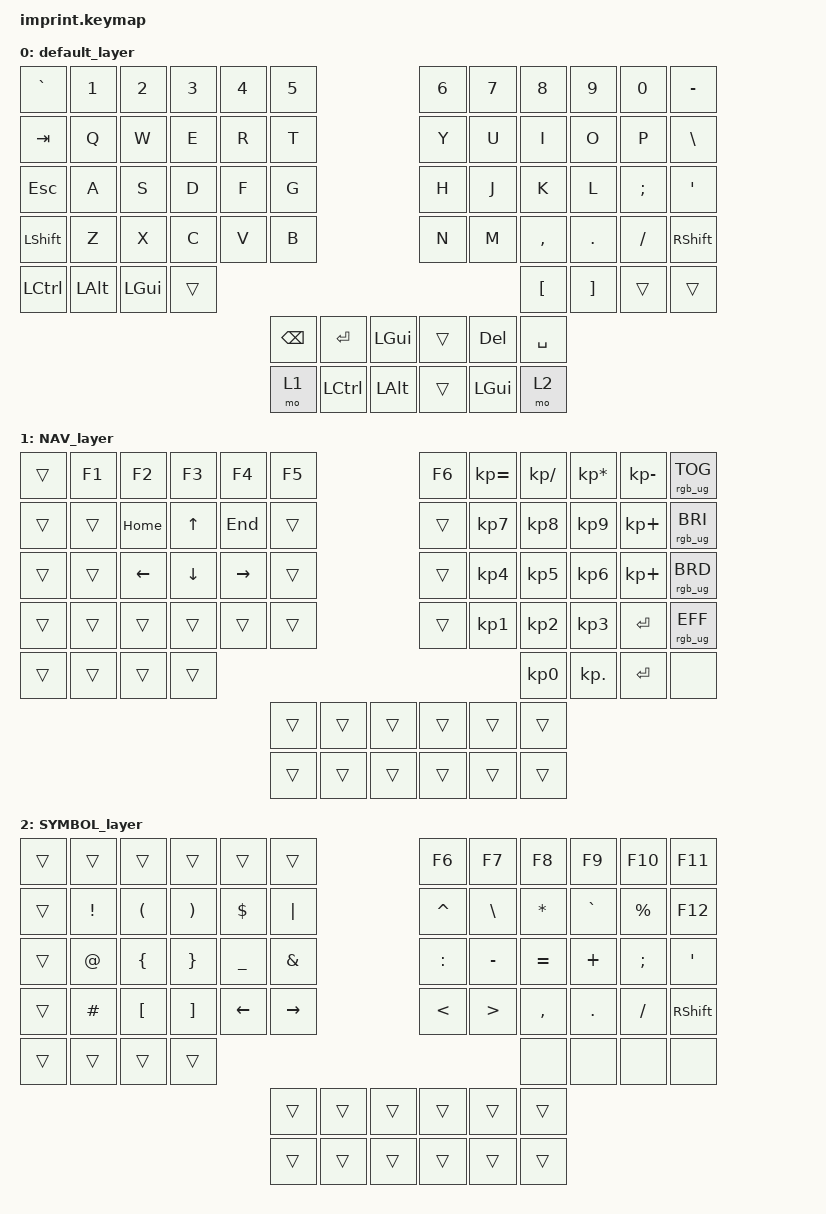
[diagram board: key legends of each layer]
#include <behaviors.dtsi>
#include <dt-bindings/zmk/bt.h>
#include <dt-bindings/zmk/keys.h>
#include <dt-bindings/zmk/outputs.h>
#include <dt-bindings/zmk/rgb.h>
#include <dt-bindings/zmk/ext_power.h>


#define UC(h, s, b) &rgb_ug RGB_COLOR_HSB(h,s,b)
#define HSB_DEFAULT UC(180,45,100)
#define HSB_DEFAULT_THUMB UC(0,60,70)

#define HSB_NAV UC(30,60,100)

// Real location is a bit off for thumbcluster.
// thumbcluster L       thumbcluster R
// Mapped version
// 2 3 4               4 3 2
// 1 5 6               6 5 1
// "Real" Mapping
// 1 2 3 4              4 3 2 1
//     5 6              6 5


&led_strip {
    chain-length = <34>;
};


/ {
    chosen { zmk,matrix-transform = &dactyl_manuform_number_row;
    };
    keymap {
        compatible = "zmk,keymap";

        default_layer {
            bindings = <
 &kp GRAVE  &kp N1    &kp N2    &kp N3    &kp N4  &kp N5                                         &kp N6      &kp N7     &kp N8    &kp N9   &kp N0   &kp MINUS
 &kp TAB    &kp Q     &kp W     &kp E     &kp R   &kp T                                          &kp Y       &kp U      &kp I     &kp O    &kp P    &kp BSLH
 &kp ESC    &kp A     &kp S     &kp D     &kp F   &kp G                                          &kp H       &kp J      &kp K     &kp L    &kp SEMI &kp SQT
 &kp LSHFT  &kp Z     &kp X     &kp C     &kp V   &kp B                                          &kp N       &kp M      &kp COMMA &kp DOT  &kp FSLH &kp RSHFT
 &kp LCTRL  &kp LALT  &kp LGUI  &trans                                                                                  &kp LBKT  &kp RBKT &trans   &trans
                                                  &kp BSPC  &kp ENTER &kp LGUI      &trans &kp DEL &kp SPACE
                                                  &mo 1     &kp LCTRL &kp LALT       &trans &kp LGUI &mo 2
            >;
        };

        NAV_layer {
            bindings = <
 &trans  &kp F1  &kp F2     &kp F3      &kp F4      &kp F5                            &kp F6  &kp KP_EQUAL  &kp KP_DIVIDE   &kp KP_MULTIPLY &kp KP_MINUS &rgb_ug RGB_TOG   
 &trans  &trans  &kp HOME   &kp UP      &kp END     &trans                            &trans  &kp KP_N7     &kp KP_N8       &kp KP_N9       &kp KP_PLUS &rgb_ug RGB_BRI   
 &trans  &trans  &kp LEFT   &kp DOWN    &kp RIGHT   &trans                            &trans  &kp KP_N4     &kp KP_N5       &kp KP_N6       &kp KP_PLUS &rgb_ug RGB_BRD   
 &trans  &trans  &trans     &trans      &trans      &trans                            &trans  &kp KP_N1     &kp KP_N2       &kp KP_N3       &kp ENTER   &rgb_ug RGB_EFF   
 &trans  &trans  &trans     &trans                                                                          &kp KP_N0       &kp KP_DOT      &kp ENTER   &none      
                                        &trans  &trans &trans             &trans &trans &trans
                                        &trans  &trans &trans             &trans &trans &trans
            >;
        };

        SYMBOL_layer {
            bindings = <
 &trans  &trans     &trans      &trans      &trans      &trans                             &kp F6      &kp F7      &kp F8      &kp F9      &kp F10     &kp F11
 &trans  &kp EXCL   &kp LPAR    &kp RPAR    &kp DLLR    &kp PIPE                           &kp CARET   &kp BSLH    &kp STAR    &kp GRAVE   &kp PERCENT &kp F12
 &trans  &kp AT     &kp LBRC    &kp RBRC    &kp UNDER   &kp AMPS                           &kp COLON   &kp MINUS   &kp EQUAL   &kp PLUS    &kp SEMI    &kp SQT
 &trans  &kp HASH   &kp LBKT    &kp RBKT    &kp LEFT    &kp RIGHT                          &kp LT      &kp GT      &kp COMMA   &kp DOT     &kp FSLH    &kp RSHFT
 &trans  &trans     &trans      &trans                                                                             &none      &none      &none      &none
                                            &trans  &trans &trans        &trans &trans &trans
                                            &trans  &trans &trans        &trans &trans &trans
            >;
        };
    };

    underglow-layer {
        compatible = "zmk,underglow-layer";

        default_layer {
            // This layer is active when keymap layer 0 is active
            layer-id = <0>; 
            bindings = <
                HSB_DEFAULT HSB_DEFAULT HSB_DEFAULT HSB_DEFAULT HSB_DEFAULT HSB_DEFAULT            HSB_DEFAULT HSB_DEFAULT HSB_DEFAULT HSB_DEFAULT HSB_DEFAULT HSB_DEFAULT
                HSB_DEFAULT HSB_DEFAULT HSB_DEFAULT HSB_DEFAULT HSB_DEFAULT HSB_DEFAULT            HSB_DEFAULT HSB_DEFAULT HSB_DEFAULT HSB_DEFAULT HSB_DEFAULT HSB_DEFAULT
                HSB_DEFAULT HSB_DEFAULT HSB_DEFAULT HSB_DEFAULT HSB_DEFAULT HSB_DEFAULT            HSB_DEFAULT HSB_DEFAULT HSB_DEFAULT HSB_DEFAULT HSB_DEFAULT HSB_DEFAULT
                HSB_DEFAULT HSB_DEFAULT HSB_DEFAULT HSB_DEFAULT HSB_DEFAULT HSB_DEFAULT            HSB_DEFAULT HSB_DEFAULT HSB_DEFAULT HSB_DEFAULT HSB_DEFAULT HSB_DEFAULT
                HSB_DEFAULT HSB_DEFAULT HSB_DEFAULT HSB_DEFAULT                                                            HSB_DEFAULT HSB_DEFAULT HSB_DEFAULT HSB_DEFAULT
                                HSB_DEFAULT_THUMB HSB_DEFAULT_THUMB HSB_DEFAULT_THUMB               HSB_DEFAULT_THUMB   HSB_DEFAULT_THUMB   HSB_DEFAULT_THUMB
                                HSB_DEFAULT_THUMB HSB_DEFAULT_THUMB HSB_DEFAULT_THUMB               HSB_DEFAULT_THUMB   HSB_DEFAULT_THUMB   HSB_DEFAULT_THUMB
            >;
        };

        NAV_layer {
            layer-id = <1>; // NAV_layer
            bindings = <
                HSB_DEFAULT HSB_DEFAULT HSB_DEFAULT HSB_DEFAULT HSB_DEFAULT HSB_DEFAULT            HSB_DEFAULT HSB_DEFAULT HSB_DEFAULT HSB_DEFAULT HSB_DEFAULT HSB_DEFAULT
                HSB_DEFAULT HSB_DEFAULT HSB_NAV     HSB_NAV     HSB_NAV     HSB_DEFAULT            HSB_DEFAULT HSB_DEFAULT HSB_DEFAULT HSB_DEFAULT HSB_DEFAULT HSB_DEFAULT
                HSB_DEFAULT HSB_DEFAULT HSB_NAV     HSB_NAV     HSB_NAV     HSB_DEFAULT            HSB_DEFAULT HSB_DEFAULT HSB_DEFAULT HSB_DEFAULT HSB_DEFAULT HSB_DEFAULT
                HSB_DEFAULT HSB_DEFAULT HSB_DEFAULT HSB_DEFAULT HSB_DEFAULT HSB_DEFAULT            HSB_DEFAULT HSB_DEFAULT HSB_DEFAULT HSB_DEFAULT HSB_DEFAULT HSB_DEFAULT
                HSB_DEFAULT HSB_DEFAULT HSB_DEFAULT HSB_DEFAULT                                                            HSB_DEFAULT HSB_DEFAULT HSB_DEFAULT HSB_DEFAULT
                                HSB_DEFAULT_THUMB HSB_DEFAULT_THUMB HSB_DEFAULT_THUMB               HSB_DEFAULT_THUMB   HSB_DEFAULT_THUMB   HSB_DEFAULT_THUMB
                                HSB_DEFAULT_THUMB HSB_DEFAULT_THUMB HSB_DEFAULT_THUMB               HSB_DEFAULT_THUMB   HSB_DEFAULT_THUMB   HSB_DEFAULT_THUMB
            >;
        };
    };
};
